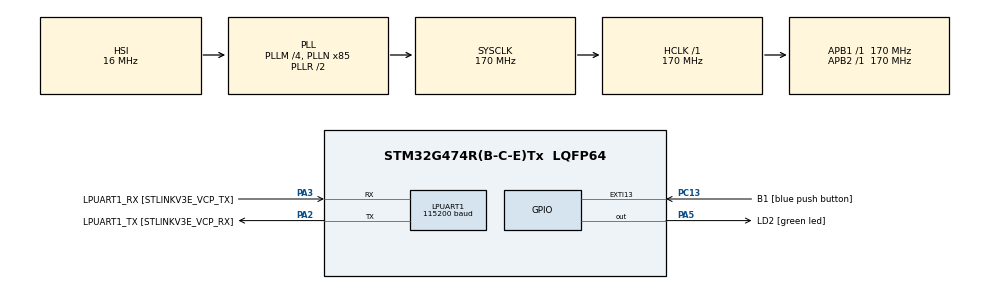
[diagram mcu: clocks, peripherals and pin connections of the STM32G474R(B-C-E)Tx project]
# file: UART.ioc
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Dma.LPUART1_RX.0.Direction=DMA_PERIPH_TO_MEMORY
Dma.LPUART1_RX.0.EventEnable=DISABLE
Dma.LPUART1_RX.0.Instance=DMA1_Channel1
Dma.LPUART1_RX.0.MemDataAlignment=DMA_MDATAALIGN_BYTE
Dma.LPUART1_RX.0.MemInc=DMA_MINC_ENABLE
Dma.LPUART1_RX.0.Mode=DMA_CIRCULAR
Dma.LPUART1_RX.0.PeriphDataAlignment=DMA_PDATAALIGN_BYTE
Dma.LPUART1_RX.0.PeriphInc=DMA_PINC_DISABLE
Dma.LPUART1_RX.0.Polarity=HAL_DMAMUX_REQ_GEN_RISING
Dma.LPUART1_RX.0.Priority=DMA_PRIORITY_LOW
Dma.LPUART1_RX.0.RequestNumber=1
Dma.LPUART1_RX.0.SignalID=NONE
Dma.LPUART1_RX.0.SyncEnable=DISABLE
Dma.LPUART1_RX.0.SyncPolarity=HAL_DMAMUX_SYNC_NO_EVENT
Dma.LPUART1_RX.0.SyncRequestNumber=1
Dma.LPUART1_RX.0.SyncSignalID=NONE
Dma.LPUART1_TX.1.Direction=DMA_MEMORY_TO_PERIPH
Dma.LPUART1_TX.1.EventEnable=DISABLE
Dma.LPUART1_TX.1.Instance=DMA1_Channel2
Dma.LPUART1_TX.1.MemDataAlignment=DMA_MDATAALIGN_BYTE
Dma.LPUART1_TX.1.MemInc=DMA_MINC_ENABLE
Dma.LPUART1_TX.1.Mode=DMA_NORMAL
Dma.LPUART1_TX.1.PeriphDataAlignment=DMA_PDATAALIGN_BYTE
Dma.LPUART1_TX.1.PeriphInc=DMA_PINC_DISABLE
Dma.LPUART1_TX.1.Polarity=HAL_DMAMUX_REQ_GEN_RISING
Dma.LPUART1_TX.1.Priority=DMA_PRIORITY_LOW
Dma.LPUART1_TX.1.RequestNumber=1
Dma.LPUART1_TX.1.SignalID=NONE
Dma.LPUART1_TX.1.SyncEnable=DISABLE
Dma.LPUART1_TX.1.SyncPolarity=HAL_DMAMUX_SYNC_NO_EVENT
Dma.LPUART1_TX.1.SyncRequestNumber=1
Dma.LPUART1_TX.1.SyncSignalID=NONE
Dma.Request0=LPUART1_RX
Dma.Request1=LPUART1_TX
LPUART1.BaudRate=115200
LPUART1.WordLength=UART_WORDLENGTH_8B
Mcu.Family=STM32G4
Mcu.Name=STM32G474R(B-C-E)Tx
Mcu.Package=LQFP64
NVIC.DMA1_Channel1_IRQn=true\:0\:0\:false\:false\:true\:false\:true\:true
NVIC.DMA1_Channel2_IRQn=true\:0\:0\:false\:false\:true\:false\:true\:true
NVIC.EXTI15_10_IRQn=true\:0\:0\:false\:false\:true\:true\:true\:true
NVIC.LPUART1_IRQn=true\:0\:0\:false\:false\:true\:true\:true\:true
NVIC.PriorityGroup=NVIC_PRIORITYGROUP_4
PA13.GPIO_Label=T_SWDIO
PA13.Mode=Serial_Wire
PA13.Signal=SYS_JTMS-SWDIO
PA14.GPIO_Label=T_SWCLK
PA14.Mode=Serial_Wire
PA14.Signal=SYS_JTCK-SWCLK
PA2.GPIO_Label=LPUART1_TX [STLINKV3E_VCP_RX]
PA2.Mode=Asynchronous
PA2.Signal=LPUART1_TX
PA3.GPIO_Label=LPUART1_RX [STLINKV3E_VCP_TX]
PA3.Mode=Asynchronous
PA3.Signal=LPUART1_RX
PA5.GPIO_Label=LD2 [green led]
PA5.Signal=GPIO_Output
PB3.GPIO_Label=T_SWO
PB3.Signal=SYS_JTDO-SWO
PC13.GPIO_Label=B1 [blue push button]
PC13.Signal=GPXTI13
PC14-OSC32_IN.Mode=LSE-External-Oscillator
PC14-OSC32_IN.Signal=RCC_OSC32_IN
PC15-OSC32_OUT.Mode=LSE-External-Oscillator
PC15-OSC32_OUT.Signal=RCC_OSC32_OUT
PF0-OSC_IN.Mode=HSE-External-Oscillator
PF0-OSC_IN.Signal=RCC_OSC_IN
PF1-OSC_OUT.Mode=HSE-External-Oscillator
PF1-OSC_OUT.Signal=RCC_OSC_OUT
ProjectManager.HeapSize=0x200
ProjectManager.StackSize=0x400
ProjectManager.TargetToolchain=STM32CubeIDE
RCC.ADC12Freq_Value=170000000
RCC.ADC345Freq_Value=170000000
RCC.AHBFreq_Value=170000000
RCC.APB1Freq_Value=170000000
RCC.APB1TimFreq_Value=170000000
RCC.APB2Freq_Value=170000000
RCC.APB2TimFreq_Value=170000000
RCC.CortexFreq_Value=170000000
RCC.EXTERNAL_CLOCK_VALUE=12288000
RCC.HCLKFreq_Value=170000000
RCC.HSE_VALUE=24000000
RCC.HSI48_VALUE=48000000
RCC.HSI_VALUE=16000000
RCC.PLLM=RCC_PLLM_DIV4
RCC.PLLN=85
RCC.RTCClockSelection=RCC_RTCCLKSOURCE_LSE
RCC.SYSCLKFreq_VALUE=170000000
RCC.SYSCLKSource=RCC_SYSCLKSOURCE_PLLCLK
RCC.USBFreq_Value=170000000
RCC.VCOOutputFreq_Value=340000000
VP_SYS_VS_DBSignals.Mode=DisableDeadBatterySignals
board=NUCLEO-G474RE

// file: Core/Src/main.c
/* USER CODE BEGIN Header */
/**
  ******************************************************************************
  * @file           : main.c
  * @brief          : Main program body
  ******************************************************************************
  * @attention
  *
  * Copyright (c) 2024 STMicroelectronics.
  * All rights reserved.
  *
  * This software is licensed under terms that can be found in the LICENSE file
  * in the root directory of this software component.
  * If no LICENSE file comes with this software, it is provided AS-IS.
  *
  ******************************************************************************
  */
/* USER CODE END Header */
#include "main.h"

/* USER CODE BEGIN Includes */
#include "stdio.h"
#include "string.h"
/* USER CODE END Includes */

UART_HandleTypeDef hlpuart1;
DMA_HandleTypeDef hdma_lpuart1_rx;
DMA_HandleTypeDef hdma_lpuart1_tx;

/* USER CODE BEGIN PV */
uint8_t RxBuffer[20];
uint8_t TxBuffer[40];
/* USER CODE END PV */

void SystemClock_Config(void);
static void MX_GPIO_Init(void);
static void MX_DMA_Init(void);
static void MX_LPUART1_UART_Init(void);
/* USER CODE BEGIN PFP */
void UARTPollingMedthod();
void DummyTask();
void UARTInterruptConfig();
/* USER CODE END PFP */

int main(void)
{

  /* MCU Configuration--------------------------------------------------------*/

  /* Reset of all peripherals, Initializes the Flash interface and the Systick. */
  HAL_Init();

  /* Configure the system clock */
  SystemClock_Config();

  /* Initialize all configured peripherals */
  MX_GPIO_Init();
  MX_DMA_Init();
  MX_LPUART1_UART_Init();
  /* USER CODE BEGIN 2 */
  UARTInterruptConfig();
  /* USER CODE END 2 */

  /* Infinite loop */
  while (1)
  {

    /* USER CODE BEGIN 3 */
//	  UARTPollingMedthod();
	  DummyTask();
  }
  /* USER CODE END 3 */
}

void SystemClock_Config(void)
{
  RCC_OscInitTypeDef RCC_OscInitStruct = {0};
  RCC_ClkInitTypeDef RCC_ClkInitStruct = {0};

  /** Configure the main internal regulator output voltage
  */
  HAL_PWREx_ControlVoltageScaling(PWR_REGULATOR_VOLTAGE_SCALE1_BOOST);

  /** Initializes the RCC Oscillators according to the specified parameters
  * in the RCC_OscInitTypeDef structure.
  */
  RCC_OscInitStruct.OscillatorType = RCC_OSCILLATORTYPE_HSI;
  RCC_OscInitStruct.HSIState = RCC_HSI_ON;
  RCC_OscInitStruct.HSICalibrationValue = RCC_HSICALIBRATION_DEFAULT;
  RCC_OscInitStruct.PLL.PLLState = RCC_PLL_ON;
  RCC_OscInitStruct.PLL.PLLSource = RCC_PLLSOURCE_HSI;
  RCC_OscInitStruct.PLL.PLLM = RCC_PLLM_DIV4;
  RCC_OscInitStruct.PLL.PLLN = 85;
  RCC_OscInitStruct.PLL.PLLP = RCC_PLLP_DIV2;
  RCC_OscInitStruct.PLL.PLLQ = RCC_PLLQ_DIV2;
  RCC_OscInitStruct.PLL.PLLR = RCC_PLLR_DIV2;
  if (HAL_RCC_OscConfig(&RCC_OscInitStruct) != HAL_OK)
  {
    Error_Handler();
  }

  /** Initializes the CPU, AHB and APB buses clocks
  */
  RCC_ClkInitStruct.ClockType = RCC_CLOCKTYPE_HCLK|RCC_CLOCKTYPE_SYSCLK
                              |RCC_CLOCKTYPE_PCLK1|RCC_CLOCKTYPE_PCLK2;
  RCC_ClkInitStruct.SYSCLKSource = RCC_SYSCLKSOURCE_PLLCLK;
  RCC_ClkInitStruct.AHBCLKDivider = RCC_SYSCLK_DIV1;
  RCC_ClkInitStruct.APB1CLKDivider = RCC_HCLK_DIV1;
  RCC_ClkInitStruct.APB2CLKDivider = RCC_HCLK_DIV1;

  if (HAL_RCC_ClockConfig(&RCC_ClkInitStruct, FLASH_LATENCY_4) != HAL_OK)
  {
    Error_Handler();
  }
}

static void MX_LPUART1_UART_Init(void)
{

  hlpuart1.Instance = LPUART1;
  hlpuart1.Init.BaudRate = 115200;
  hlpuart1.Init.WordLength = UART_WORDLENGTH_8B;
  hlpuart1.Init.StopBits = UART_STOPBITS_1;
  hlpuart1.Init.Parity = UART_PARITY_NONE;
  hlpuart1.Init.Mode = UART_MODE_TX_RX;
  hlpuart1.Init.HwFlowCtl = UART_HWCONTROL_NONE;
  hlpuart1.Init.OneBitSampling = UART_ONE_BIT_SAMPLE_DISABLE;
  hlpuart1.Init.ClockPrescaler = UART_PRESCALER_DIV1;
  hlpuart1.AdvancedInit.AdvFeatureInit = UART_ADVFEATURE_NO_INIT;
  if (HAL_UART_Init(&hlpuart1) != HAL_OK)
  {
    Error_Handler();
  }
  if (HAL_UARTEx_SetTxFifoThreshold(&hlpuart1, UART_TXFIFO_THRESHOLD_1_8) != HAL_OK)
  {
    Error_Handler();
  }
  if (HAL_UARTEx_SetRxFifoThreshold(&hlpuart1, UART_RXFIFO_THRESHOLD_1_8) != HAL_OK)
  {
    Error_Handler();
  }
  if (HAL_UARTEx_DisableFifoMode(&hlpuart1) != HAL_OK)
  {
    Error_Handler();
  }

}

static void MX_DMA_Init(void)
{

  /* DMA controller clock enable */
  __HAL_RCC_DMAMUX1_CLK_ENABLE();
  __HAL_RCC_DMA1_CLK_ENABLE();

  /* DMA interrupt init */
  /* DMA1_Channel1_IRQn interrupt configuration */
  HAL_NVIC_SetPriority(DMA1_Channel1_IRQn, 0, 0);
  HAL_NVIC_EnableIRQ(DMA1_Channel1_IRQn);
  /* DMA1_Channel2_IRQn interrupt configuration */
  HAL_NVIC_SetPriority(DMA1_Channel2_IRQn, 0, 0);
  HAL_NVIC_EnableIRQ(DMA1_Channel2_IRQn);

}

static void MX_GPIO_Init(void)
{
  GPIO_InitTypeDef GPIO_InitStruct = {0};

  /* GPIO Ports Clock Enable */
  __HAL_RCC_GPIOC_CLK_ENABLE();
  __HAL_RCC_GPIOF_CLK_ENABLE();
  __HAL_RCC_GPIOA_CLK_ENABLE();
  __HAL_RCC_GPIOB_CLK_ENABLE();

  /*Configure GPIO pin Output Level */
  HAL_GPIO_WritePin(LD2_GPIO_Port, LD2_Pin, GPIO_PIN_RESET);

  /*Configure GPIO pin : B1_Pin */
  GPIO_InitStruct.Pin = B1_Pin;
  GPIO_InitStruct.Mode = GPIO_MODE_IT_RISING;
  GPIO_InitStruct.Pull = GPIO_NOPULL;
  HAL_GPIO_Init(B1_GPIO_Port, &GPIO_InitStruct);

  /*Configure GPIO pin : LD2_Pin */
  GPIO_InitStruct.Pin = LD2_Pin;
  GPIO_InitStruct.Mode = GPIO_MODE_OUTPUT_PP;
  GPIO_InitStruct.Pull = GPIO_NOPULL;
  GPIO_InitStruct.Speed = GPIO_SPEED_FREQ_LOW;
  HAL_GPIO_Init(LD2_GPIO_Port, &GPIO_InitStruct);

  /* EXTI interrupt init*/
  HAL_NVIC_SetPriority(EXTI15_10_IRQn, 0, 0);
  HAL_NVIC_EnableIRQ(EXTI15_10_IRQn);

}

/* USER CODE BEGIN 4 */
void UARTPollingMedthod(){
	HAL_StatusTypeDef HAL_status = HAL_UART_Receive(&hlpuart1, RxBuffer , 10 , 10000);
	if(HAL_status == HAL_OK){
		RxBuffer[10] = '\0';

		sprintf((char*)TxBuffer,"Received : %s\r\n",RxBuffer);
		HAL_UART_Transmit(&hlpuart1, TxBuffer , strlen((char*)TxBuffer) , 10);
	}
	else if(HAL_status == HAL_TIMEOUT){
		uint32_t lastCharPos = hlpuart1.RxXferSize - hlpuart1.RxXferCount;
		RxBuffer[lastCharPos] = '\0';

		sprintf((char*)TxBuffer,"Received Timeout : %s\r\n",RxBuffer);
		HAL_UART_Transmit(&hlpuart1, TxBuffer , strlen((char*)TxBuffer) , 10);
	}
}

void DummyTask() {
	static uint32_t timestamp = 0;
	if(HAL_GetTick()>=timestamp){
		timestamp = HAL_GetTick() + 100;
		HAL_GPIO_TogglePin( LD2_GPIO_Port, LD2_Pin);
	}
}

void UARTInterruptConfig() {
	HAL_UART_Receive_DMA(&hlpuart1 , RxBuffer , 10);
}

void HAL_UART_RxCpltCallback(UART_HandleTypeDef *huart) {
	if(huart == &hlpuart1){
		RxBuffer[10] = '\0';

		sprintf((char*)TxBuffer,"Received : %s\r\n",RxBuffer);
		HAL_UART_Transmit_DMA(&hlpuart1, TxBuffer , strlen((char*)TxBuffer) );

	}
}
/* USER CODE END 4 */

void Error_Handler(void)
{
  __disable_irq();
  while (1)
  {
  }
}
